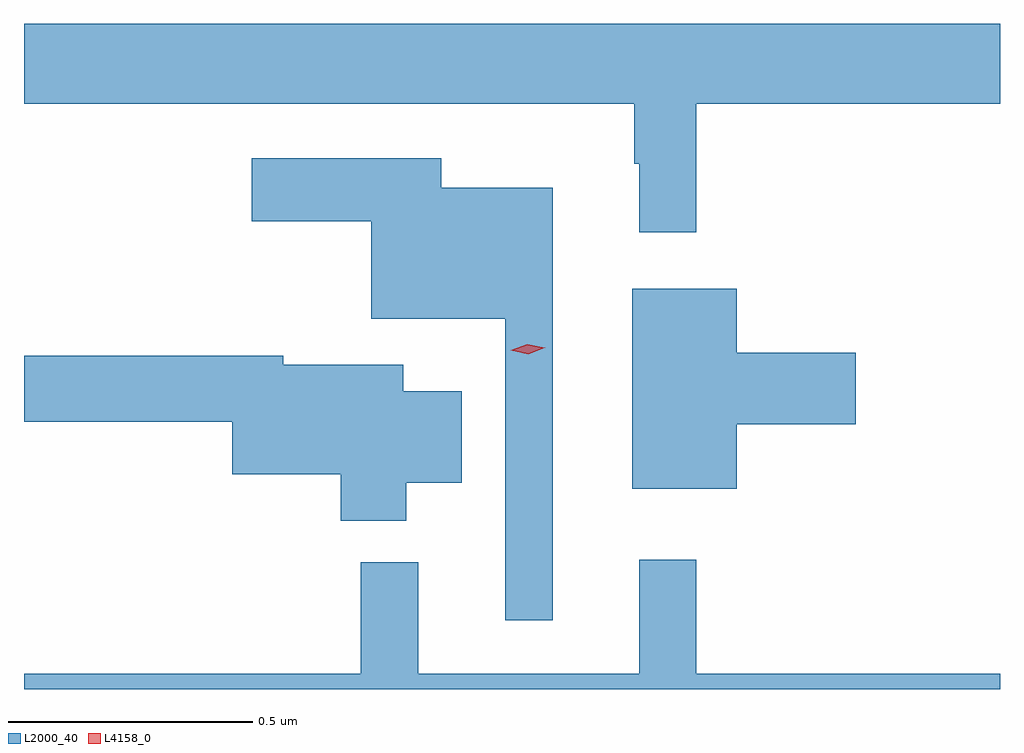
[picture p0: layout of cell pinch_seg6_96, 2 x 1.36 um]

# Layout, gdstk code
import gdstk
lib = gdstk.Library(unit=1e-6, precision=1e-09)
def P(c, l, *ps):  # polygons
    for p in ps: c.add(gdstk.Polygon(p, *l))
L2000_40 = (2000, 40)
L4158_0 = (4158, 0)

pinch_seg6_96 = lib.new_cell('pinch_seg6_96')
P(pinch_seg6_96, L2000_40, [(940.631,916.7),(941.253,916.7),(941.253,916.864),(939.253,916.864),(939.253,916.7),(940.503,916.7),(940.503,916.577),(940.514,916.577),(940.514,916.437),(940.631,916.437)],
  [(940.336,916.528),(940.108,916.528),(940.108,916.588),(939.72,916.588),(939.72,916.459),(939.965,916.459),(939.965,916.259),(940.239,916.259),(940.239,915.642),(940.336,915.642)],
  [(940.714,916.043),(940.957,916.043),(940.957,916.19),(940.714,916.19),(940.714,916.321),(940.499,916.321),(940.499,915.911),(940.714,915.911)],
  [(940.036,915.923),(940.15,915.923),(940.15,916.111),(940.03,916.111),(940.03,916.165),(939.784,916.165),(939.784,916.184),(939.253,916.184),(939.253,916.048),(939.68,916.048),(939.68,915.941),(939.902,915.941),(939.902,915.845),(940.036,915.845)],
  [(941.253,915.532),(940.631,915.532),(940.631,915.766),(940.514,915.766),(940.514,915.532),(940.061,915.532),(940.061,915.76),(939.943,915.76),(939.943,915.532),(939.253,915.532),(939.253,915.5),(941.253,915.5)])
P(pinch_seg6_96, L4158_0, [(940.286,916.187),(940.25,916.195),(940.249,916.195),(940.25,916.195),(940.284,916.207),(940.32,916.2),(940.321,916.2),(940.32,916.2)])

lib.write_gds('pinch_seg6_96.gds')
